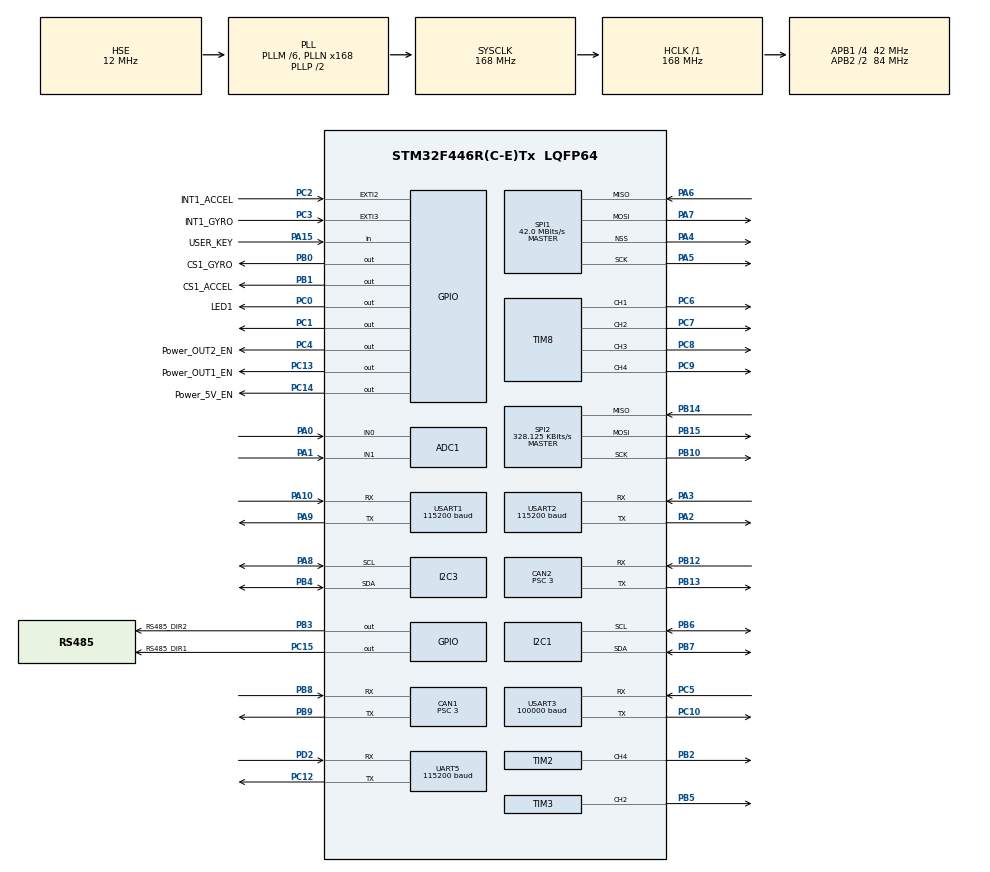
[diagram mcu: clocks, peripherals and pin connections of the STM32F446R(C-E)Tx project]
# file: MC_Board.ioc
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ADC1.Channel-0\#ChannelRegularConversion=ADC_CHANNEL_0
ADC1.NbrOfConversionFlag=1
ADC1.Rank-0\#ChannelRegularConversion=1
ADC1.SamplingTime-0\#ChannelRegularConversion=ADC_SAMPLETIME_3CYCLES
ADC1.master=1
CAN1.ABOM=ENABLE
CAN1.BS1=CAN_BS1_10TQ
CAN1.BS2=CAN_BS2_3TQ
CAN1.CalculateBaudRate=1000000
CAN1.CalculateTimeBit=1000
CAN1.CalculateTimeQuantum=71.42857142857143
CAN1.NART=ENABLE
CAN1.Prescaler=3
CAN1.SJW=CAN_SJW_1TQ
CAN2.BS1=CAN_BS1_10TQ
CAN2.BS2=CAN_BS2_3TQ
CAN2.CalculateBaudRate=1000000
CAN2.CalculateTimeBit=1000
CAN2.CalculateTimeQuantum=71.42857142857143
CAN2.Prescaler=3
CAN2.SJW=CAN_SJW_2TQ
Dma.Request0=USART2_TX
Dma.Request1=USART2_RX
Dma.Request2=SPI2_RX
Dma.Request3=SPI2_TX
Dma.SPI2_RX.2.Direction=DMA_PERIPH_TO_MEMORY
Dma.SPI2_RX.2.FIFOMode=DMA_FIFOMODE_DISABLE
Dma.SPI2_RX.2.Instance=DMA1_Stream3
Dma.SPI2_RX.2.MemDataAlignment=DMA_MDATAALIGN_BYTE
Dma.SPI2_RX.2.MemInc=DMA_MINC_ENABLE
Dma.SPI2_RX.2.Mode=DMA_NORMAL
Dma.SPI2_RX.2.PeriphDataAlignment=DMA_PDATAALIGN_BYTE
Dma.SPI2_RX.2.PeriphInc=DMA_PINC_DISABLE
Dma.SPI2_RX.2.Priority=DMA_PRIORITY_VERY_HIGH
Dma.SPI2_TX.3.Direction=DMA_MEMORY_TO_PERIPH
Dma.SPI2_TX.3.FIFOMode=DMA_FIFOMODE_DISABLE
Dma.SPI2_TX.3.Instance=DMA1_Stream4
Dma.SPI2_TX.3.MemDataAlignment=DMA_MDATAALIGN_BYTE
Dma.SPI2_TX.3.MemInc=DMA_MINC_ENABLE
Dma.SPI2_TX.3.Mode=DMA_NORMAL
Dma.SPI2_TX.3.PeriphDataAlignment=DMA_PDATAALIGN_BYTE
Dma.SPI2_TX.3.PeriphInc=DMA_PINC_DISABLE
Dma.SPI2_TX.3.Priority=DMA_PRIORITY_HIGH
Dma.USART2_RX.1.Direction=DMA_PERIPH_TO_MEMORY
Dma.USART2_RX.1.FIFOMode=DMA_FIFOMODE_DISABLE
Dma.USART2_RX.1.Instance=DMA1_Stream5
Dma.USART2_RX.1.MemDataAlignment=DMA_MDATAALIGN_BYTE
Dma.USART2_RX.1.MemInc=DMA_MINC_ENABLE
Dma.USART2_RX.1.Mode=DMA_NORMAL
Dma.USART2_RX.1.PeriphDataAlignment=DMA_PDATAALIGN_BYTE
Dma.USART2_RX.1.PeriphInc=DMA_PINC_DISABLE
Dma.USART2_RX.1.Priority=DMA_PRIORITY_MEDIUM
Dma.USART2_TX.0.Direction=DMA_MEMORY_TO_PERIPH
Dma.USART2_TX.0.FIFOMode=DMA_FIFOMODE_DISABLE
Dma.USART2_TX.0.Instance=DMA1_Stream6
Dma.USART2_TX.0.MemDataAlignment=DMA_MDATAALIGN_BYTE
Dma.USART2_TX.0.MemInc=DMA_MINC_ENABLE
Dma.USART2_TX.0.Mode=DMA_NORMAL
Dma.USART2_TX.0.PeriphDataAlignment=DMA_PDATAALIGN_BYTE
Dma.USART2_TX.0.PeriphInc=DMA_PINC_DISABLE
Dma.USART2_TX.0.Priority=DMA_PRIORITY_MEDIUM
Mcu.Family=STM32F4
Mcu.Name=STM32F446R(C-E)Tx
Mcu.Package=LQFP64
NVIC.CAN1_RX0_IRQn=true\:3\:0\:true\:false\:true\:true\:true\:true
NVIC.CAN1_TX_IRQn=true\:4\:0\:true\:false\:true\:true\:true\:true
NVIC.CAN2_RX0_IRQn=true\:3\:0\:true\:false\:true\:true\:true\:true
NVIC.CAN2_TX_IRQn=true\:4\:0\:true\:false\:true\:true\:true\:true
NVIC.DMA1_Stream3_IRQn=true\:0\:0\:false\:false\:false\:false\:true\:true
NVIC.DMA1_Stream4_IRQn=true\:0\:0\:false\:false\:true\:false\:true\:true
NVIC.DMA1_Stream5_IRQn=true\:0\:0\:false\:false\:true\:false\:true\:true
NVIC.DMA1_Stream6_IRQn=true\:0\:0\:false\:false\:true\:false\:true\:true
NVIC.EXTI2_IRQn=true\:5\:0\:true\:false\:true\:true\:true\:true
NVIC.EXTI3_IRQn=true\:5\:0\:true\:false\:true\:true\:true\:true
NVIC.PriorityGroup=NVIC_PRIORITYGROUP_4
NVIC.TIM7_IRQn=true\:5\:0\:true\:false\:true\:true\:true\:true
NVIC.UART5_IRQn=true\:4\:0\:true\:false\:true\:true\:true\:true
NVIC.USART1_IRQn=true\:4\:0\:true\:false\:true\:true\:true\:true
NVIC.USART2_IRQn=true\:4\:0\:true\:false\:true\:true\:true\:true
NVIC.USART3_IRQn=true\:4\:0\:true\:false\:true\:true\:true\:true
PA0-WKUP.GPIO_Mode=GPIO_MODE_ANALOG
PA0-WKUP.GPIO_PuPd=GPIO_NOPULL
PA0-WKUP.Signal=ADCx_IN0
PA1.GPIO_Mode=GPIO_MODE_ANALOG
PA1.GPIO_PuPd=GPIO_NOPULL
PA1.Signal=ADCx_IN1
PA10.Mode=Asynchronous
PA10.Signal=USART1_RX
PA13.Mode=Serial_Wire
PA13.Signal=SYS_JTMS-SWDIO
PA14.Mode=Serial_Wire
PA14.Signal=SYS_JTCK-SWCLK
PA15.GPIO_Label=USER_KEY
PA15.Signal=GPIO_Input
PA2.Mode=Asynchronous
PA2.Signal=USART2_TX
PA3.Mode=Asynchronous
PA3.Signal=USART2_RX
PA4.Mode=NSS_Signal_Hard_Output
PA4.Signal=SPI1_NSS
PA5.Mode=Full_Duplex_Master
PA5.Signal=SPI1_SCK
PA6.Mode=Full_Duplex_Master
PA6.Signal=SPI1_MISO
PA7.Mode=Full_Duplex_Master
PA7.Signal=SPI1_MOSI
PA8.GPIO_Pu=GPIO_PULLUP
PA8.Mode=I2C
PA8.Signal=I2C3_SCL
PA9.Mode=Asynchronous
PA9.Signal=USART1_TX
PB0.GPIO_Label=CS1_GYRO
PB0.GPIO_PuPd=GPIO_PULLUP
PB0.GPIO_Speed=GPIO_SPEED_FREQ_HIGH
PB0.Signal=GPIO_Output
PB1.GPIO_Label=CS1_ACCEL
PB1.GPIO_PuPd=GPIO_PULLUP
PB1.GPIO_Speed=GPIO_SPEED_FREQ_HIGH
PB1.Signal=GPIO_Output
PB10.Mode=Full_Duplex_Master
PB10.Signal=SPI2_SCK
PB12.Mode=CAN_Activate
PB12.Signal=CAN2_RX
PB13.Mode=CAN_Activate
PB13.Signal=CAN2_TX
PB14.Mode=Full_Duplex_Master
PB14.Signal=SPI2_MISO
PB15.Mode=Full_Duplex_Master
PB15.Signal=SPI2_MOSI
PB2.GPIO_ModeDefaultPP=GPIO_MODE_AF_PP
PB2.GPIO_PuPd=GPIO_NOPULL
PB2.GPIO_Speed=GPIO_SPEED_FREQ_LOW
PB2.Signal=S_TIM2_CH4
PB3.GPIO_Label=RS485_DIR2
PB3.GPIO_ModeDefaultOutputPP=GPIO_MODE_OUTPUT_PP
PB3.GPIO_PuPd=GPIO_NOPULL
PB3.GPIO_Speed=GPIO_SPEED_FREQ_LOW
PB3.PinState=GPIO_PIN_RESET
PB3.Signal=GPIO_Output
PB4.GPIO_Pu=GPIO_PULLUP
PB4.Mode=I2C
PB4.Signal=I2C3_SDA
PB5.GPIO_PuPd=GPIO_PULLDOWN
PB5.Signal=S_TIM3_CH2
PB6.GPIO_Pu=GPIO_PULLUP
PB6.Mode=I2C
PB6.Signal=I2C1_SCL
PB7.GPIO_Pu=GPIO_PULLUP
PB7.Mode=I2C
PB7.Signal=I2C1_SDA
PB8.Mode=CAN_Activate
PB8.Signal=CAN1_RX
PB9.Mode=CAN_Activate
PB9.Signal=CAN1_TX
PC0.GPIO_Label=LED1
PC0.GPIO_ModeDefaultOutputPP=GPIO_MODE_OUTPUT_PP
PC0.GPIO_PuPd=GPIO_NOPULL
PC0.GPIO_Speed=GPIO_SPEED_FREQ_LOW
PC0.PinState=GPIO_PIN_RESET
PC0.Signal=GPIO_Output
PC1.Signal=GPIO_Output
PC10.Mode=Asynchronous
PC10.Signal=USART3_TX
PC12.Mode=Asynchronous
PC12.Signal=UART5_TX
PC13.GPIO_Label=Power_OUT1_EN
PC13.GPIO_ModeDefaultOutputPP=GPIO_MODE_OUTPUT_PP
PC13.GPIO_PuPd=GPIO_NOPULL
PC13.GPIO_Speed=GPIO_SPEED_FREQ_LOW
PC13.PinState=GPIO_PIN_RESET
PC13.Signal=GPIO_Output
PC14-OSC32_IN.GPIO_Label=Power_5V_EN
PC14-OSC32_IN.GPIO_ModeDefaultOutputPP=GPIO_MODE_OUTPUT_PP
PC14-OSC32_IN.GPIO_PuPd=GPIO_NOPULL
PC14-OSC32_IN.GPIO_Speed=GPIO_SPEED_FREQ_LOW
PC14-OSC32_IN.PinState=GPIO_PIN_RESET
PC14-OSC32_IN.Signal=GPIO_Output
PC15-OSC32_OUT.GPIO_Label=RS485_DIR1
PC15-OSC32_OUT.GPIO_ModeDefaultOutputPP=GPIO_MODE_OUTPUT_PP
PC15-OSC32_OUT.GPIO_PuPd=GPIO_NOPULL
PC15-OSC32_OUT.GPIO_Speed=GPIO_SPEED_FREQ_LOW
PC15-OSC32_OUT.PinState=GPIO_PIN_RESET
PC15-OSC32_OUT.Signal=GPIO_Output
PC2.GPIO_Label=INT1_ACCEL
PC2.Signal=GPXTI2
PC3.GPIO_Label=INT1_GYRO
PC3.Signal=GPXTI3
PC4.GPIO_Label=Power_OUT2_EN
PC4.Signal=GPIO_Output
PC5.GPIO_PuPd=GPIO_NOPULL
PC5.Mode=Asynchronous
PC5.Signal=USART3_RX
PC6.Signal=S_TIM8_CH1
PC7.Signal=S_TIM8_CH2
PC8.Signal=S_TIM8_CH3
PC9.Signal=S_TIM8_CH4
PD2.Mode=Asynchronous
PD2.Signal=UART5_RX
PH0-OSC_IN.Mode=HSE-External-Oscillator
PH0-OSC_IN.Signal=RCC_OSC_IN
PH1-OSC_OUT.Mode=HSE-External-Oscillator
PH1-OSC_OUT.Signal=RCC_OSC_OUT
ProjectManager.HeapSize=0x10000
ProjectManager.StackSize=0x8000
ProjectManager.TargetToolchain=MDK-ARM V5.32
RCC.AHBFreq_Value=168000000
RCC.APB1CLKDivider=RCC_HCLK_DIV4
RCC.APB1Freq_Value=42000000
RCC.APB1TimFreq_Value=84000000
RCC.APB2CLKDivider=RCC_HCLK_DIV2
RCC.APB2Freq_Value=84000000
RCC.APB2TimFreq_Value=168000000
RCC.CortexFreq_Value=168000000
RCC.HCLKFreq_Value=168000000
RCC.HSE_VALUE=12000000
RCC.PLLM=6
RCC.PLLN=168
RCC.PLLQ=7
RCC.PLLSAIM=6
RCC.PLLSAIN=96
RCC.PLLSAIP=RCC_PLLSAIP_DIV4
RCC.PLLSourceVirtual=RCC_PLLSOURCE_HSE
RCC.SYSCLKFreq_VALUE=168000000
RCC.SYSCLKSource=RCC_SYSCLKSOURCE_PLLCLK
RCC.USBFreq_Value=48000000
RCC.VCOOutputFreq_Value=336000000
SH.ADCx_IN0.0=ADC1_IN0,IN0
SH.ADCx_IN1.0=ADC1_IN1,IN1
SH.S_TIM2_CH4.0=TIM2_CH4,PWM Generation4 CH4
SH.S_TIM3_CH2.0=TIM3_CH2,PWM Generation2 CH2
SH.S_TIM8_CH1.0=TIM8_CH1,PWM Generation1 CH1
SH.S_TIM8_CH2.0=TIM8_CH2,PWM Generation2 CH2
SH.S_TIM8_CH3.0=TIM8_CH3,PWM Generation3 CH3
SH.S_TIM8_CH4.0=TIM8_CH4,PWM Generation4 CH4
SPI1.BaudRatePrescaler=SPI_BAUDRATEPRESCALER_2
SPI1.CalculateBaudRate=42.0 MBits/s
SPI1.Direction=SPI_DIRECTION_2LINES
SPI1.Mode=SPI_MODE_MASTER
SPI1.VirtualNSS=VM_NSSHARD
SPI1.VirtualType=VM_MASTER
SPI2.BaudRatePrescaler=SPI_BAUDRATEPRESCALER_128
SPI2.CLKPhase=SPI_PHASE_2EDGE
SPI2.CLKPolarity=SPI_POLARITY_HIGH
SPI2.CalculateBaudRate=328.125 KBits/s
SPI2.Direction=SPI_DIRECTION_2LINES
SPI2.Mode=SPI_MODE_MASTER
SPI2.VirtualType=VM_MASTER
TIM2.AutoReloadPreload=TIM_AUTORELOAD_PRELOAD_ENABLE
TIM2.Channel-PWM\ Generation4\ CH4=TIM_CHANNEL_4
TIM2.Period=65535
TIM2.Prescaler=42 - 1
TIM3.Channel-PWM\ Generation2\ CH2=TIM_CHANNEL_2
TIM3.Period=4999
TIM7.Period=1000 - 1
TIM7.Prescaler=84 - 1
TIM8.Channel-PWM\ Generation1\ CH1=TIM_CHANNEL_1
TIM8.Channel-PWM\ Generation2\ CH2=TIM_CHANNEL_2
TIM8.Channel-PWM\ Generation3\ CH3=TIM_CHANNEL_3
TIM8.Channel-PWM\ Generation4\ CH4=TIM_CHANNEL_4
UART5.BaudRate=115200
UART5.VirtualMode=Asynchronous
USART1.BaudRate=115200
USART1.VirtualMode=VM_ASYNC
USART2.BaudRate=115200
USART2.VirtualMode=VM_ASYNC
USART3.BaudRate=100000
USART3.Mode=MODE_RX
USART3.Parity=PARITY_EVEN
USART3.StopBits=STOPBITS_2
USART3.VirtualMode=VM_ASYNC
USART3.WordLength=WORDLENGTH_9B
VP_IWDG_VS_IWDG.Mode=IWDG_Activate
VP_TIM2_VS_ClockSourceINT.Mode=Internal
VP_TIM7_VS_ClockSourceINT.Mode=Enable_Timer
board=custom

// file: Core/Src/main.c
/* USER CODE BEGIN Header */
/**
  ******************************************************************************
  * @file           : main.c
  * @brief          : Main program body
  ******************************************************************************
  * @attention
  *
  * Copyright (c) 2023 STMicroelectronics.
  * All rights reserved.
  *
  * This software is licensed under terms that can be found in the LICENSE file
  * in the root directory of this software component.
  * If no LICENSE file comes with this software, it is provided AS-IS.
  *
  ******************************************************************************
  */
/* USER CODE END Header */
#include "main.h"
#include "adc.h"
#include "can.h"
#include "dma.h"
#include "i2c.h"
#include "iwdg.h"
#include "spi.h"
#include "tim.h"
#include "usart.h"
#include "gpio.h"

void SystemClock_Config(void);
/* USER CODE BEGIN PFP */
void SystemClock_PreConfig(void);
void SystemClock_PostConfig(void);

void BSP_Setup();
void Setup();
void Loop();
/* USER CODE END PFP */

int main(void)
{
  /* USER CODE BEGIN 1 */
  static uint8_t firstEnter = 1;
  if(firstEnter) {
      /* USER CODE END 1 */

      /* MCU Configuration--------------------------------------------------------*/

      /* Reset of all peripherals, Initializes the Flash interface and the Systick. */
      HAL_Init();

      /* USER CODE BEGIN Init */
      SystemClock_PreConfig();
      /* USER CODE END Init */

      /* Configure the system clock */
      SystemClock_Config();

      /* USER CODE BEGIN SysInit */
      SystemClock_PostConfig();
      /* USER CODE END SysInit */

      /* Initialize all configured peripherals */
      MX_GPIO_Init();
      MX_DMA_Init();
      MX_CAN1_Init();
      MX_CAN2_Init();
      MX_SPI1_Init();
      MX_UART5_Init();
      MX_USART1_UART_Init();
      MX_ADC1_Init();
      MX_I2C1_Init();
      MX_TIM8_Init();
      MX_I2C3_Init();
      MX_SPI2_Init();
      MX_USART2_UART_Init();
      MX_TIM3_Init();
      MX_TIM2_Init();
      MX_TIM7_Init();
      MX_USART3_UART_Init();
      //MX_IWDG_Init();
      /* USER CODE BEGIN 2 */
      HAL_GPIO_WritePin(GPIOC, Power_OUT1_EN_Pin|Power_5V_EN_Pin|RS485_DIR1_Pin|LED1_Pin
                               |GPIO_PIN_1|Power_OUT2_EN_Pin, GPIO_PIN_SET);

      firstEnter = 0;
  } else {
      BSP_Setup();
      Setup();
      /* USER CODE END 2 */

      /* Infinite loop */
      while (1) {

          /* USER CODE BEGIN 3 */
          Loop();
      }
  }
  /* USER CODE END 3 */
}

void SystemClock_Config(void)
{
  RCC_OscInitTypeDef RCC_OscInitStruct = {0};
  RCC_ClkInitTypeDef RCC_ClkInitStruct = {0};

  /** Configure the main internal regulator output voltage
  */
  __HAL_RCC_PWR_CLK_ENABLE();
  __HAL_PWR_VOLTAGESCALING_CONFIG(PWR_REGULATOR_VOLTAGE_SCALE1);

  /** Initializes the RCC Oscillators according to the specified parameters
  * in the RCC_OscInitTypeDef structure.
  */
  RCC_OscInitStruct.OscillatorType = RCC_OSCILLATORTYPE_LSI|RCC_OSCILLATORTYPE_HSE;
  RCC_OscInitStruct.HSEState = RCC_HSE_ON;
  RCC_OscInitStruct.LSIState = RCC_LSI_ON;
  RCC_OscInitStruct.PLL.PLLState = RCC_PLL_ON;
  RCC_OscInitStruct.PLL.PLLSource = RCC_PLLSOURCE_HSE;
  RCC_OscInitStruct.PLL.PLLM = 6;
  RCC_OscInitStruct.PLL.PLLN = 168;
  RCC_OscInitStruct.PLL.PLLP = RCC_PLLP_DIV2;
  RCC_OscInitStruct.PLL.PLLQ = 7;
  RCC_OscInitStruct.PLL.PLLR = 2;
  if (HAL_RCC_OscConfig(&RCC_OscInitStruct) != HAL_OK)
  {
    Error_Handler();
  }

  /** Initializes the CPU, AHB and APB buses clocks
  */
  RCC_ClkInitStruct.ClockType = RCC_CLOCKTYPE_HCLK|RCC_CLOCKTYPE_SYSCLK
                              |RCC_CLOCKTYPE_PCLK1|RCC_CLOCKTYPE_PCLK2;
  RCC_ClkInitStruct.SYSCLKSource = RCC_SYSCLKSOURCE_PLLCLK;
  RCC_ClkInitStruct.AHBCLKDivider = RCC_SYSCLK_DIV1;
  RCC_ClkInitStruct.APB1CLKDivider = RCC_HCLK_DIV4;
  RCC_ClkInitStruct.APB2CLKDivider = RCC_HCLK_DIV2;

  if (HAL_RCC_ClockConfig(&RCC_ClkInitStruct, FLASH_LATENCY_5) != HAL_OK)
  {
    Error_Handler();
  }
}

/* USER CODE BEGIN 4 */
/**
 * @brief 将时钟源选择为内部时钟，避免Clion的Debug模式无法使能锁相�????
 */
void SystemClock_PreConfig(void) {
    RCC_ClkInitTypeDef RCC_ClkInitStruct = {0};
    RCC_ClkInitStruct.ClockType = RCC_CLOCKTYPE_SYSCLK;
    RCC_ClkInitStruct.SYSCLKSource = RCC_SYSCLKSOURCE_HSI;
    if (HAL_RCC_ClockConfig(&RCC_ClkInitStruct, FLASH_LATENCY_5) != HAL_OK) {
        Error_Handler();
    }
}

void SystemClock_PostConfig(void) {
    RCC_OscInitTypeDef RCC_OscInitStruct = {0};
    RCC_OscInitStruct.OscillatorType = RCC_OSCILLATORTYPE_HSI;
    RCC_OscInitStruct.HSIState = RCC_HSI_OFF;
    RCC_OscInitStruct.PLL.PLLState = RCC_PLL_NONE;
    if(HAL_RCC_OscConfig(&RCC_OscInitStruct) != HAL_OK) {
        Error_Handler();
    }
}
/* USER CODE END 4 */

void Error_Handler(void)
{
  __disable_irq();
  while (1)
  {
  }
}
